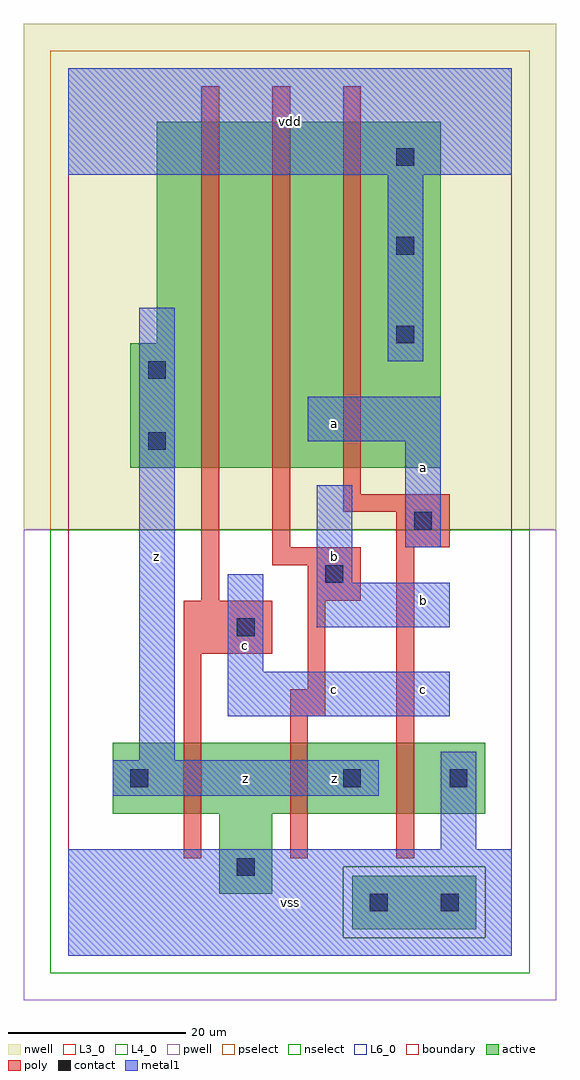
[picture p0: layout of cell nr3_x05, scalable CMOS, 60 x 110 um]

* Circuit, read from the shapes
.subckt nr3_x05 a b c vdd vss z
M1 vss c z vss nfet w=8u l=2u
M2 z b vss vss nfet w=8u l=2u
M3 vss a z vss nfet w=8u l=2u
M4 n1 c z n2 pfet w=39u l=2u
M5 n3 b n1 n2 pfet w=39u l=2u
M6 vdd a n3 n2 pfet w=39u l=2u
.ends

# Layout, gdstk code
import gdstk
lib = gdstk.Library(unit=1e-6, precision=1e-09)
def R(c, l, rs):  # rectangles x0, y0, x1, y1
    for r in rs: c.add(gdstk.rectangle(r[:2], r[2:], *l))
def A(c, l, x, y, w, h, nx, ny, dx, dy):  # array of equal rectangles
    R(c, l, [(x+i*dx, y+j*dy, x+i*dx+w, y+j*dy+h) for i in range(nx) for j in range(ny)])
L3_0 = (3, 0)
L4_0 = (4, 0)
L6_0 = (6, 0)
contact = (25, 0)
pwell = (41, 0)
nwell = (42, 0)
active = (43, 0)
pselect = (44, 0)
nselect = (45, 0)
poly = (46, 0)
metal1 = (49, 0)
boundary = (63, 0)

nr3_x05 = lib.new_cell('nr3_x05')
R(nr3_x05, L3_0, [(17,7,23,16), (5,16,47,24)])
R(nr3_x05, L4_0, [(7,55,42,69), (10,69,42,94)])
R(nr3_x05, L6_0, [(32,3,46,9)])
A(nr3_x05, contact, 37, 69, 2, 2, 1, 3, 0, 10)
R(nr3_x05, contact, [(34,5,36,7), (42,5,44,7), (19,9,21,11), (7,19,9,21), (31,19,33,21), (43,19,45,21), (19,36,21,38), (29,42,31,44), (39,48,41,50), (9,57,11,59), (9,65,11,67)])
R(nr3_x05, pwell, [(-5,-5,55,48)])
R(nr3_x05, nwell, [(-5,48,55,105)])
R(nr3_x05, active, [(32,3,46,9), (17,7,23,16), (5,16,47,24), (7,55,42,69), (10,69,42,94)])
R(nr3_x05, pselect, [(31,2,47,10), (-2,48,52,102)])
R(nr3_x05, nselect, [(-2,-2,52,2), (-2,2,31,10), (47,2,52,10), (-2,10,52,48)])
R(nr3_x05, poly, [(13,11,15,34), (25,11,27,27), (37,11,39,46), (25,27,29,30), (27,30,29,40), (13,34,23,40), (15,40,17,98), (27,40,33,44), (23,44,33,46), (23,46,25,98), (37,46,43,50), (31,50,43,52), (31,52,33,98)])
R(nr3_x05, metal1, [(0,0,50,12), (42,12,46,23), (5,18,35,22), (8,22,12,73), (18,27,43,32), (18,32,22,43), (28,37,43,42), (28,42,32,53), (38,46,42,58), (27,58,42,63), (36,67,40,88), (0,88,50,100)])
R(nr3_x05, boundary, [(0,0,50,100)])
nr3_x05.add(gdstk.Label('z', (20,20), layer=49, texttype=0))
nr3_x05.add(gdstk.Label('z', (10,45), layer=49, texttype=0))
nr3_x05.add(gdstk.Label('c', (20,35), layer=49, texttype=0))
nr3_x05.add(gdstk.Label('vss', (25,6), layer=49, texttype=0))
nr3_x05.add(gdstk.Label('z', (30,20), layer=49, texttype=0))
nr3_x05.add(gdstk.Label('b', (30,45), layer=49, texttype=0))
nr3_x05.add(gdstk.Label('c', (30,30), layer=49, texttype=0))
nr3_x05.add(gdstk.Label('a', (30,60), layer=49, texttype=0))
nr3_x05.add(gdstk.Label('vdd', (25,94), layer=49, texttype=0))
nr3_x05.add(gdstk.Label('b', (40,40), layer=49, texttype=0))
nr3_x05.add(gdstk.Label('c', (40,30), layer=49, texttype=0))
nr3_x05.add(gdstk.Label('a', (40,55), layer=49, texttype=0))

lib.write_gds('nr3_x05.gds')
